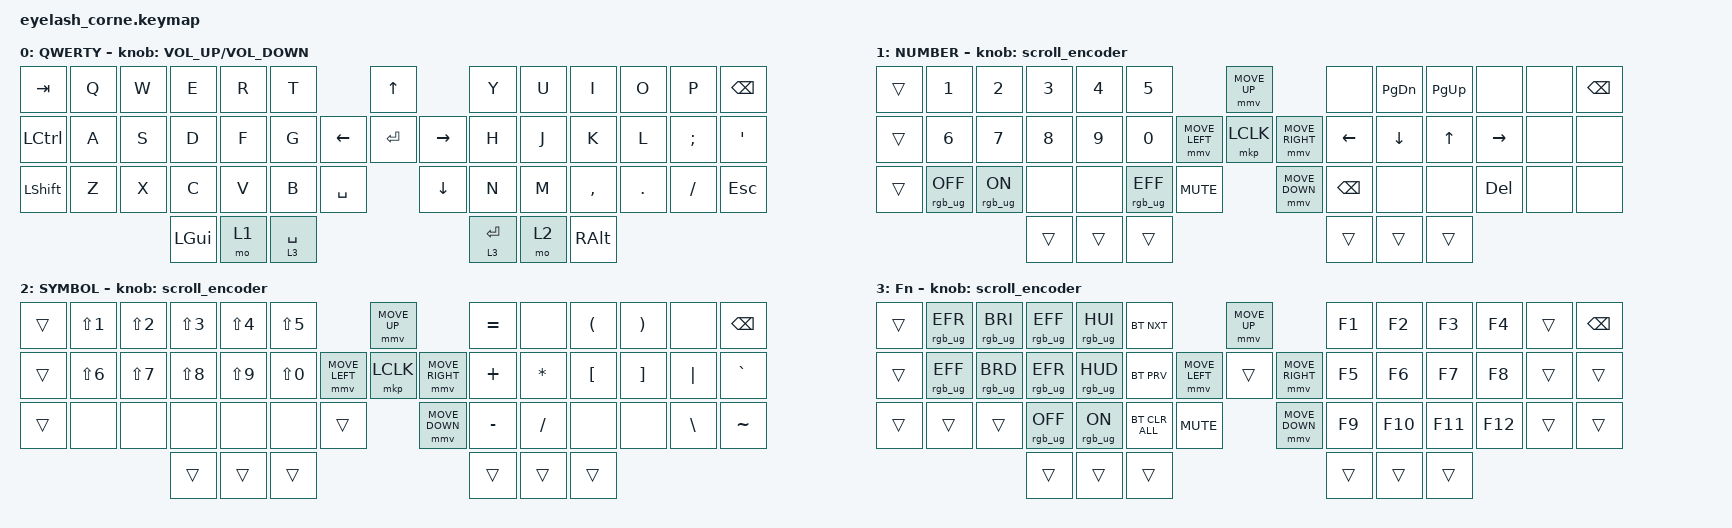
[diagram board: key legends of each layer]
#define ZMK_POINTING_DEFAULT_MOVE_VAL 1200  // 600
#define ZMK_POINTING_DEFAULT_SCRL_VAL 25   // 10

#include <input/processors.dtsi>
#include <zephyr/dt-bindings/input/input-event-codes.h>
#include <behaviors.dtsi>
#include <dt-bindings/zmk/bt.h>
#include <dt-bindings/zmk/keys.h>
#include <dt-bindings/zmk/outputs.h>
#include <dt-bindings/zmk/pointing.h>
#include <dt-bindings/zmk/rgb.h>
#include <dt-bindings/zmk/mouse.h>

&mmv_input_listener { input-processors = <&zip_xy_scaler 2 1>; };

&msc_input_listener { input-processors = <&zip_scroll_scaler 2 1>; };

&msc {
    acceleration-exponent = <1>;      // 0
    time-to-max-speed-ms = <100>;       // 300
    delay-ms = <0>;                   // 0
};

&mmv {
    time-to-max-speed-ms = <500>;
    acceleration-exponent = <1>;
    trigger-period-ms = <16>;
};

&soft_off { hold-time-ms = <2000>; };

/ {
    rgb_encoder: rgb_encoder {
        compatible = "zmk,behavior-sensor-rotate";
        #sensor-binding-cells = <0>;
        bindings = <&rgb_ug RGB_BRI>, <&rgb_ug RGB_BRD>;
    };

    scroll_encoder: scroll_encoder {
        compatible = "zmk,behavior-sensor-rotate";
        #sensor-binding-cells = <0>;
        bindings = <&msc SCRL_DOWN>, <&msc SCRL_UP>;
        tap-ms = <100>;
    };

    combos {
        compatible = "zmk,combos";

        softoff {
            bindings = <&soft_off>;
            key-positions = <1 15 29>;
        };
    };

    keymap {
        compatible = "zmk,keymap";

        default_layer {
            display-name = "QWERTY";
            bindings = <
&kp TAB    &kp Q  &kp W  &kp E     &kp R  &kp T                               &kp UP                &kp Y        &kp U  &kp I      &kp O    &kp P     &kp BSPC
&kp LCTRL  &kp A  &kp S  &kp D     &kp F  &kp G                     &kp LEFT  &kp ENTER  &kp RIGHT  &kp H        &kp J  &kp K      &kp L    &kp SEMI  &kp SQT
&kp LSHIFT &kp Z  &kp X  &kp C     &kp V  &kp B        &kp SPACE              &kp DOWN              &kp N        &kp M  &kp COMMA  &kp DOT  &kp FSLH  &kp ESC
                         &kp LGUI  &mo 1  &lt 3 SPACE                                               &lt 3 ENTER  &mo 2  &kp RALT
            >;

            sensor-bindings = <&inc_dec_kp C_VOLUME_UP C_VOLUME_DOWN>;
        };

        lower_layer {
            display-name = "NUMBER";
            bindings = <
&trans  &kp N1           &kp N2          &kp N3        &kp N4        &kp N5                                         &mmv MOVE_UP                     &none         &kp PG_DN      &kp PG_UP      &none         &none   &kp BSPC
&trans  &kp N6           &kp N7          &kp N8        &kp N9        &kp N0                        &mmv MOVE_LEFT  &mkp LCLK       &mmv MOVE_RIGHT  &kp LEFT         &kp DOWN         &kp UP           &kp RIGHT        &none  &none
&trans  &rgb_ug RGB_OFF  &rgb_ug RGB_ON  &none        &none        &rgb_ug RGB_EFF  &kp C_MUTE                    &mmv MOVE_DOWN                   &kp BSPC        &none          &none          &kp DEL          &none   &none
                                         &trans        &trans        &trans                                                                          &trans          &trans          &trans
            >;

            sensor-bindings = <&scroll_encoder>;
        };

        raise_layer {
            display-name = "SYMBOL";
            bindings = <
&trans  &kp LS(N1)   &kp LS(N2)     &kp LS(N3)    &kp LS(N4)   &kp LS(N5)                            &mmv MOVE_UP                     &kp EQUAL   &none      &kp LPAR    &kp RPAR    &none   &kp BSPC
&trans  &kp LS(N6)  &kp LS(N7)   &kp LS(N8)   &kp LS(N9)   &kp LS(N0)             &mmv MOVE_LEFT  &mkp LCLK       &mmv MOVE_RIGHT  &kp PLUS    &kp ASTRK   &kp LBKT    &kp RBKT  &kp PIPE  &kp GRAVE
&trans   &none      &none      &none       &none      &none    &trans                    &mmv MOVE_DOWN                   &kp MINUS   &kp FSLH    &none      &none      &kp BSLH  &kp TILDE
                                    &trans     &trans     &trans                                                             &trans    &trans     &trans
            >;

            sensor-bindings = <&scroll_encoder>;
        };

        layer_3 {
            display-name = "Fn";
            bindings = <
&trans    &rgb_ug RGB_EFR  &rgb_ug RGB_BRI  &rgb_ug RGB_EFF   &rgb_ug RGB_HUI   &bt BT_NXT                &mmv MOVE_UP                     &kp F1       &kp F2     &kp F3       &kp F4      &trans           &kp BSPC
&trans  &rgb_ug RGB_EFF  &rgb_ug RGB_BRD  &rgb_ug RGB_EFR   &rgb_ug RGB_HUD   &bt BT_PRV   &mmv MOVE_LEFT  &trans         &mmv MOVE_RIGHT  &kp F5       &kp F6     &kp F7       &kp F8      &trans           &trans
&trans &trans           &trans           &rgb_ug RGB_OFF   &rgb_ug RGB_ON    &bt BT_CLR_ALL   &kp C_MUTE                    &mmv MOVE_DOWN                   &kp F9       &kp F10    &kp F11      &kp F12     &trans           &trans
                                       &trans            &trans            &trans                                                                   &trans       &trans     &trans
            >;

            sensor-bindings = <&scroll_encoder>;
        };
    };
};
